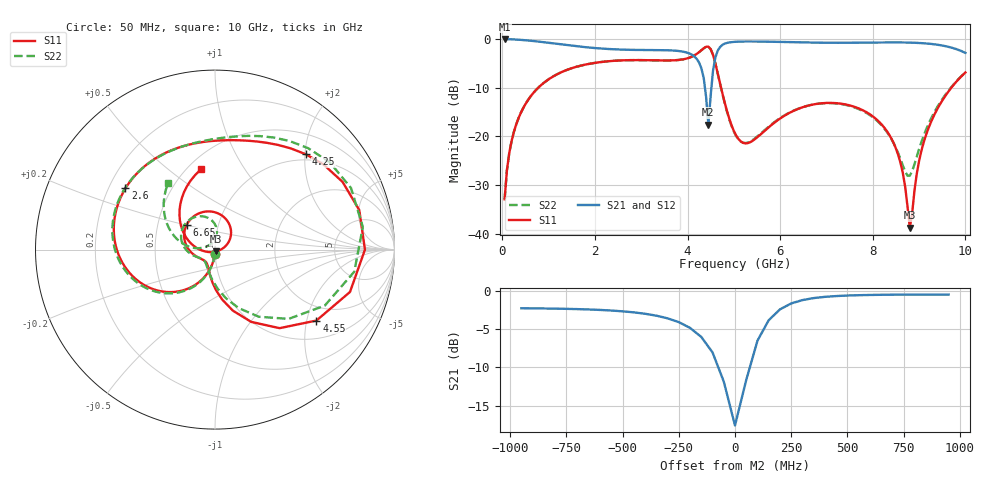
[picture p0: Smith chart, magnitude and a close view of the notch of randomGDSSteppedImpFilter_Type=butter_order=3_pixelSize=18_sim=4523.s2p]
! freq	dB(S11)	phase(S11)	dB(S12)	phase(S12)
!  dB(S21)	phase(S21)	dB(S22)	phase(S22)
!S-par simulation data
#  GHz  S  DB  R 50
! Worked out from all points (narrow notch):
!   200 points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, 50 MHz to 10 GHz, reference 50 ohm
!   highest |S21| = 0.00 dB at 50 MHz (marker M1); lowest = -17.6 dB at 4.45 GHz (marker M2)
!   notch at M2: 16.8 dB deep, 159 MHz wide at half that depth
!   lowest |S11| = -38.8 dB at 8.8 GHz (marker M3), VSWR 1.02, Z = 50.5 - j1.06 ohm
!   |S11| at or under -10 dB: start of sweep to 776.8 MHz; 4.724 GHz to 9.695 GHz (4.971 GHz wide, 68.9 % of centre)
!   |S22| runs from -32.9 to -1.6 dB; largest |S21 - S12| = 0
!   S11 on the Smith chart (normalised r, x): 50 MHz: 1.00, -0.04; 2.6 GHz: 0.27, +0.29; 4.25 GHz: 0.88, +2.02; 4.55 GHz: 1.52, -2.29; 6.65 GHz: 0.70, +0.20; 10 GHz: 0.58, +0.66
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0.05  -32.94 -92.8  -0.00 -2.7  -0.00 -2.7  -32.94 -92.7
0.2  -20.98 -101.4  -0.05 -10.9  -0.05 -10.9  -20.98 -101.1
0.5  -13.36 -117.8  -0.24 -26.8  -0.24 -26.8  -13.36 -116.9
1.75  -5.34 -177.9  -1.63 -85.6  -1.63 -85.6  -5.34 -174.5
2.6  -4.37 145.6  -2.17 -121.2  -2.17 -121.2  -4.37 151.0
3.4  -4.39 109.0  -2.27 -156.7  -2.27 -156.7  -4.39 116.5
3.95  -4.08 76.7  -2.68 172.3  -2.68 172.3  -4.08 85.7
4.25  -2.69 46.3  -4.84 145.8  -4.84 145.8  -2.69 55.7
4.35  -1.89 28.0  -8.04 134.2  -8.04 134.2  -1.90 37.1
4.45  -1.56 -0.0  -17.56 172.3  -17.56 172.3  -1.58 8.7
4.55  -3.23 -35.0  -6.50 -141.5  -6.50 -141.5  -3.26 -27.0
4.75  -11.04 -81.9  -1.22 -179.6  -1.22 -179.6  -11.14 -77.4
5.05  -19.84 -112.9  -0.55 150.3  -0.55 150.3  -19.93 -117.5
5.8  -17.75 -171.1  -0.55 103.8  -0.55 103.8  -17.63 -167.6
6.65  -13.57 138.7  -0.72 58.7  -0.72 58.7  -13.57 153.5
6.7  -13.47 135.9  -0.73 56.1  -0.73 56.1  -13.47 151.2
7.6  -13.91 84.4  -0.75 9.5  -0.75 9.5  -14.03 111.1
8.35  -19.59 36.3  -0.68 -31.7  -0.68 -31.7  -19.72 84.1
8.65  -27.57 7.5  -0.70 -49.3  -0.70 -49.3  -26.00 96.5
8.8  -38.76 -65.7  -0.73 -58.5  -0.73 -58.5  -28.06 135.8
9.15  -19.71 174.6  -0.90 -81.0  -0.90 -81.0  -18.63 175.4
10  -6.87 99.9  -2.84 -144.5  -2.84 -144.5  -6.86 125.1
